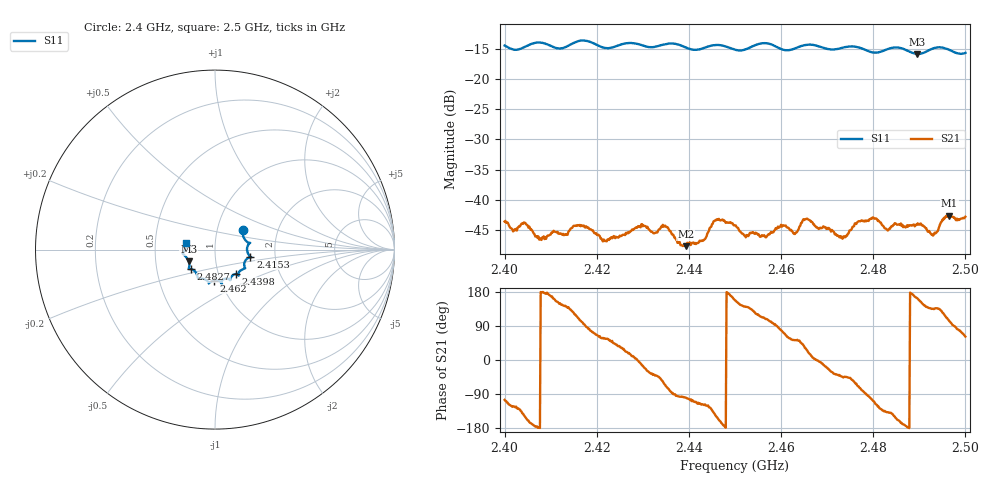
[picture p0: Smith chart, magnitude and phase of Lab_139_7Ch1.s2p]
# Hz S RI R 50
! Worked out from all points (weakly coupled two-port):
!   601 points, 2.4 GHz to 2.5 GHz, reference 50 ohm
!   highest |S21| = -42.62 dB at 2.4965 GHz (marker M1); lowest = -47.7 dB at 2.4393 GHz (marker M2)
!   lowest |S11| = -15.9 dB at 2.4895 GHz (marker M3), VSWR 1.38, Z = 37 - j5 ohm
!   |S11| at or under -10 dB: start of sweep to end of sweep
!   S12 and S22 are empty: the file has one direction only
!   S11 on the Smith chart (normalised r, x): 2.4 GHz: 1.33, +0.29; 2.4153 GHz: 1.48, -0.12; 2.4398 GHz: 1.21, -0.34; 2.462 GHz: 0.93, -0.33; 2.4827 GHz: 0.75, -0.17; 2.5 GHz: 0.72, +0.06
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2.4e9  0.1552 0.1068  -0.00175 -0.00639  0 0  0 0
2.407667e9  0.196 0.0376  -0.00483 -3.94e-05  0 0  0 0
2.415333e9  0.1969 -0.039  -0.00304 0.00527  0 0  0 0
2.416667e9  0.2027 -0.0432  -0.00121 0.00606  0 0  0 0
2.421667e9  0.1695 -0.0608  0.00247 0.00385  0 0  0 0
2.433333e9  0.1298 -0.1343  0.00404 -0.00386  0 0  0 0
2.439333e9  0.1197 -0.1365  -0.000672 -0.00409  0 0  0 0
2.439833e9  0.1152 -0.1361  -0.000902 -0.00425  0 0  0 0
2.443167e9  0.0876 -0.1566  -0.00219 -0.00409  0 0  0 0
2.446e9  0.084 -0.1709  -0.00588 -0.00343  0 0  0 0
2.45e9  0.0644 -0.1619  -0.00569 0.00237  0 0  0 0
2.4525e9  0.0409 -0.1716  -0.00394 0.00326  0 0  0 0
2.462e9  -0.0053 -0.1731  0.00307 0.00469  0 0  0 0
2.466667e9  -0.0348 -0.1881  0.0065 0.0011  0 0  0 0
2.473e9  -0.0808 -0.16  0.00356 -0.00332  0 0  0 0
2.479667e9  -0.1075 -0.1264  -0.00166 -0.00678  0 0  0 0
2.482667e9  -0.1351 -0.1087  -0.00419 -0.004  0 0  0 0
2.483333e9  -0.1403 -0.1084  -0.00424 -0.00374  0 0  0 0
2.4895e9  -0.1463 -0.066  -0.00597 0.00178  0 0  0 0
2.493167e9  -0.1775 -0.0254  -0.00365 0.00373  0 0  0 0
2.4965e9  -0.1732 -0.0117  -0.00165 0.00721  0 0  0 0
2.5e9  -0.1591 0.0389  0.00343 0.0064  0 0  0 0
